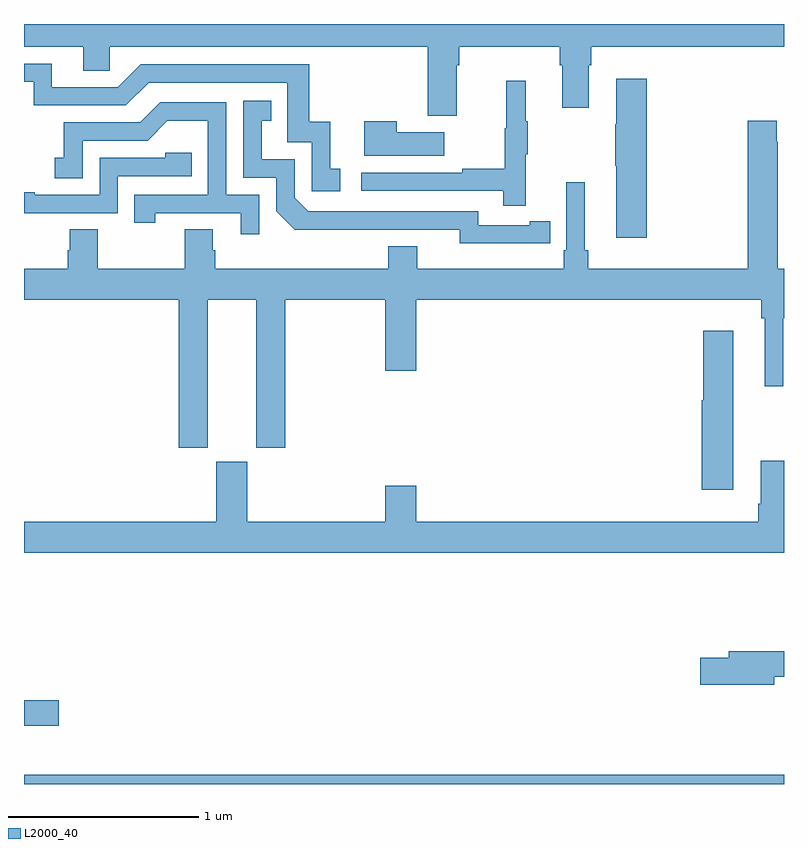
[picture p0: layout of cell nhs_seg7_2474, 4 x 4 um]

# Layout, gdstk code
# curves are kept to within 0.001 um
import gdstk
lib = gdstk.Library(unit=1e-6, precision=1e-09)
def R(c, l, rs):  # rectangles x0, y0, x1, y1
    for r in rs: c.add(gdstk.rectangle(r[:2], r[2:], *l))
def P(c, l, *ps):  # polygons
    for p in ps: c.add(gdstk.Polygon(p, *l))
L2000_40 = (2000, 40)

nhs_seg7_2474 = lib.new_cell('nhs_seg7_2474')
R(nhs_seg7_2474, L2000_40, [(271,1066,275,1066.048), (271,1066.307,271.183,1066.442)])
P(nhs_seg7_2474, L2000_40, [(273.277,1069.784),(273.29,1069.784),(273.29,1069.88),(273.821,1069.88),(273.821,1069.784),(273.833,1069.784),(273.833,1069.56),(273.973,1069.56),(273.973,1069.784),(273.986,1069.784),(273.986,1069.88),(275,1069.88),(275,1070),(271,1070),(271,1069.88),(271.313,1069.88),(271.313,1069.753),(271.452,1069.753),(271.452,1069.88),(273.125,1069.88),(273.125,1069.518),(273.277,1069.518)],
  [(272.665,1069.239),(272.612,1069.239),(272.612,1069.486),(272.501,1069.486),(272.501,1069.788),(271.614,1069.788),(271.494,1069.668),(271.147,1069.668),(271.147,1069.791),(271,1069.791),(271,1069.695),(271.05,1069.695),(271.05,1069.572),(271.536,1069.572),(271.656,1069.692),(272.385,1069.692),(272.385,1069.377),(272.514,1069.377),(272.514,1069.119),(272.665,1069.119)],
  [(274.277,1069.711),(274.118,1069.711),(274.118,1069.472),(274.111,1069.472),(274.111,1069.255),(274.118,1069.255),(274.118,1068.876),(274.277,1068.876)],
  [(273.641,1069.315),(273.652,1069.315),(273.652,1069.489),(273.641,1069.489),(273.641,1069.702),(273.538,1069.702),(273.538,1069.452),(273.531,1069.452),(273.531,1069.238),(273.307,1069.238),(273.307,1069.218),(272.775,1069.218),(272.775,1069.122),(273.523,1069.122),(273.523,1069.044),(273.641,1069.044)],
  [(273.662,1068.846),(273.77,1068.846),(273.77,1068.962),(273.662,1068.962),(273.662,1068.942),(273.39,1068.942),(273.39,1069.014),(272.496,1069.014),(272.424,1069.086),(272.424,1069.287),(272.251,1069.287),(272.251,1069.491),(272.3,1069.491),(272.3,1069.597),(272.154,1069.597),(272.154,1069.191),(272.328,1069.191),(272.328,1069.014),(272.426,1068.917),(273.294,1068.918),(273.294,1068.845)],
  [(272.238,1069.101),(272.064,1069.101),(272.064,1069.587),(271.718,1069.587),(271.613,1069.482),(271.21,1069.482),(271.21,1069.297),(271.161,1069.297),(271.161,1069.188),(271.308,1069.188),(271.308,1069.386),(271.65,1069.386),(271.754,1069.49),(271.968,1069.49),(271.968,1069.101),(271.579,1069.101),(271.579,1068.954),(271.69,1068.954),(271.69,1069.005),(272.141,1069.005),(272.141,1068.894),(272.238,1068.894)],
  [(271.966,1068.548),(272.222,1068.548),(272.222,1067.769),(272.375,1067.769),(272.375,1068.548),(272.9,1068.548),(272.9,1068.174),(273.064,1068.174),(273.064,1068.548),(274.879,1068.548),(274.879,1068.452),(274.898,1068.452),(274.898,1068.093),(274.995,1068.093),(274.995,1068.452),(275,1068.452),(275,1068.712),(274.968,1068.712),(274.968,1069.379),(274.963,1069.379),(274.963,1069.492),(274.808,1069.492),(274.808,1068.712),(273.971,1068.712),(273.971,1068.808),(273.952,1068.808),(273.952,1069.168),(273.855,1069.168),(273.855,1068.808),(273.842,1068.808),(273.842,1068.712),(273.07,1068.712),(273.07,1068.829),(272.918,1068.829),(272.918,1068.712),(272.006,1068.712),(272.006,1068.81),(271.993,1068.81),(271.993,1068.92),(271.846,1068.92),(271.846,1068.712),(271.389,1068.712),(271.389,1068.92),(271.241,1068.92),(271.241,1068.81),(271.229,1068.81),(271.229,1068.712),(271,1068.712),(271,1068.548),(271.814,1068.548),(271.814,1067.769),(271.966,1067.769)],
  [(273.211,1069.429),(272.963,1069.429),(272.963,1069.489),(272.792,1069.489),(272.792,1069.307),(273.211,1069.307)],
  [(271.494,1069.2),(271.883,1069.2),(271.883,1069.323),(271.743,1069.323),(271.743,1069.296),(271.398,1069.296),(271.398,1069.101),(271.057,1069.101),(271.057,1069.114),(271,1069.114),(271,1069.005),(271.494,1069.005)],
  [(274.732,1068.385),(274.574,1068.385),(274.574,1068.021),(274.568,1068.021),(274.568,1067.55),(274.732,1067.55)],
  [(275,1067.701),(274.877,1067.701),(274.877,1067.476),(274.865,1067.476),(274.865,1067.38),(273.064,1067.38),(273.064,1067.569),(272.9,1067.569),(272.9,1067.38),(272.176,1067.38),(272.176,1067.697),(272.012,1067.697),(272.012,1067.38),(271,1067.38),(271,1067.216),(275,1067.216)],
  [(274.948,1066.564),(275,1066.564),(275,1066.7),(274.709,1066.7),(274.709,1066.664),(274.56,1066.664),(274.56,1066.522),(274.948,1066.522)])

lib.write_gds('nhs_seg7_2474.gds')
